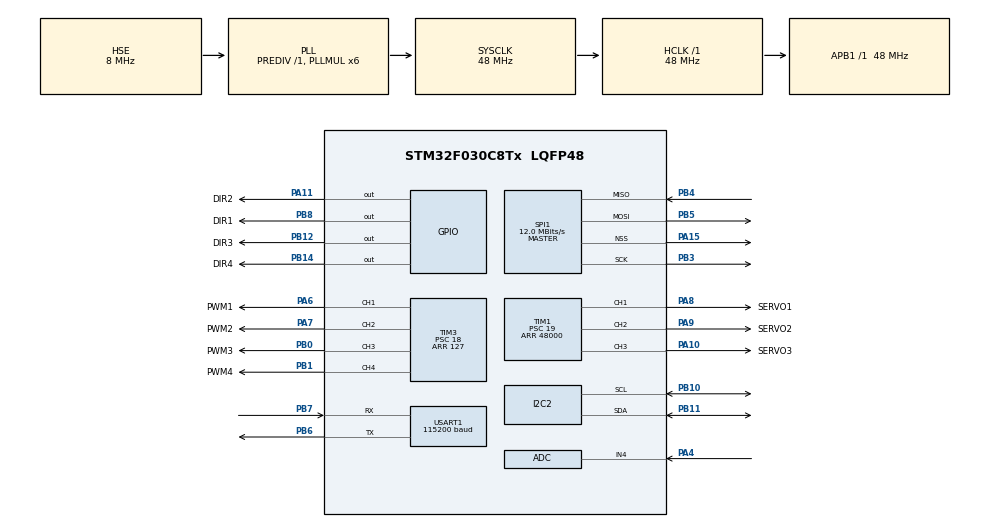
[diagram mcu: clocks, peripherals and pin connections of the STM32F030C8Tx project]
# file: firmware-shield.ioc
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ADC.EnableAnalogWatchDog=false
ADC.SamplingTime=ADC_SAMPLETIME_239CYCLES_5
Dma.Request0=USART1_RX
Dma.Request1=USART1_TX
Dma.USART1_RX.0.Direction=DMA_PERIPH_TO_MEMORY
Dma.USART1_RX.0.Instance=DMA1_Channel3
Dma.USART1_RX.0.MemDataAlignment=DMA_MDATAALIGN_BYTE
Dma.USART1_RX.0.MemInc=DMA_MINC_ENABLE
Dma.USART1_RX.0.Mode=DMA_NORMAL
Dma.USART1_RX.0.PeriphDataAlignment=DMA_PDATAALIGN_BYTE
Dma.USART1_RX.0.PeriphInc=DMA_PINC_DISABLE
Dma.USART1_RX.0.Priority=DMA_PRIORITY_LOW
Dma.USART1_TX.1.Direction=DMA_MEMORY_TO_PERIPH
Dma.USART1_TX.1.Instance=DMA1_Channel2
Dma.USART1_TX.1.MemDataAlignment=DMA_MDATAALIGN_BYTE
Dma.USART1_TX.1.MemInc=DMA_MINC_ENABLE
Dma.USART1_TX.1.Mode=DMA_NORMAL
Dma.USART1_TX.1.PeriphDataAlignment=DMA_PDATAALIGN_BYTE
Dma.USART1_TX.1.PeriphInc=DMA_PINC_DISABLE
Dma.USART1_TX.1.Priority=DMA_PRIORITY_LOW
I2C2.Timing=0x20303E5D
Mcu.Family=STM32F0
Mcu.Name=STM32F030C8Tx
Mcu.Package=LQFP48
NVIC.ADC1_IRQn=true\:0\:0\:false\:false\:true\:true
NVIC.DMA1_Channel2_3_IRQn=true\:0\:0\:false\:false\:true\:false
NVIC.I2C2_IRQn=true\:0\:0\:false\:false\:true\:true
NVIC.SPI1_IRQn=true\:0\:0\:false\:false\:true\:true
NVIC.TIM1_BRK_UP_TRG_COM_IRQn=true\:0\:0\:false\:false\:true\:true
NVIC.TIM1_CC_IRQn=true\:0\:0\:false\:false\:true\:true
NVIC.TIM3_IRQn=true\:0\:0\:false\:false\:true\:true
NVIC.USART1_IRQn=true\:0\:0\:false\:false\:true\:true
PA10.GPIO_Label=SERVO3
PA10.Signal=S_TIM1_CH3
PA11.GPIO_Label=DIR2
PA11.Signal=GPIO_Output
PA13.Mode=Serial_Wire
PA13.Signal=SYS_SWDIO
PA14.Mode=Serial_Wire
PA14.Signal=SYS_SWCLK
PA15.Mode=NSS_Signal_Hard_Output
PA15.Signal=SPI1_NSS
PA4.Mode=IN4
PA4.Signal=ADC_IN4
PA6.GPIO_Label=PWM1
PA6.Signal=S_TIM3_CH1
PA7.GPIO_Label=PWM2
PA7.Signal=S_TIM3_CH2
PA8.GPIO_Label=SERVO1
PA8.Signal=S_TIM1_CH1
PA9.GPIO_Label=SERVO2
PA9.Signal=S_TIM1_CH2
PB0.GPIO_Label=PWM3
PB0.Signal=S_TIM3_CH3
PB1.GPIO_Label=PWM4
PB1.Signal=S_TIM3_CH4
PB10.Mode=I2C
PB10.Signal=I2C2_SCL
PB11.Mode=I2C
PB11.Signal=I2C2_SDA
PB12.GPIO_Label=DIR3
PB12.Signal=GPIO_Output
PB14.GPIO_Label=DIR4
PB14.Signal=GPIO_Output
PB3.Mode=Full_Duplex_Master
PB3.Signal=SPI1_SCK
PB4.Mode=Full_Duplex_Master
PB4.Signal=SPI1_MISO
PB5.Mode=Full_Duplex_Master
PB5.Signal=SPI1_MOSI
PB6.Mode=Asynchronous
PB6.Signal=USART1_TX
PB7.Mode=Asynchronous
PB7.Signal=USART1_RX
PB8.GPIO_Label=DIR1
PB8.Signal=GPIO_Output
PF0-OSC_IN.Mode=HSE-External-Oscillator
PF0-OSC_IN.Signal=RCC_OSC_IN
PF1-OSC_OUT.Mode=HSE-External-Oscillator
PF1-OSC_OUT.Signal=RCC_OSC_OUT
ProjectManager.HeapSize=0x200
ProjectManager.StackSize=0x400
ProjectManager.TargetToolchain=SW4STM32
RCC.AHBFreq_Value=48000000
RCC.APB1Freq_Value=48000000
RCC.APB1TimFreq_Value=48000000
RCC.HCLKFreq_Value=48000000
RCC.PLLMUL=RCC_PLL_MUL6
RCC.PLLSourceVirtual=RCC_PLLSOURCE_HSE
RCC.SYSCLKFreq_VALUE=48000000
RCC.SYSCLKSource=RCC_SYSCLKSOURCE_PLLCLK
SH.S_TIM1_CH1.0=TIM1_CH1,PWM Generation1 CH1
SH.S_TIM1_CH2.0=TIM1_CH2,PWM Generation2 CH2
SH.S_TIM1_CH3.0=TIM1_CH3,PWM Generation3 CH3
SH.S_TIM3_CH1.0=TIM3_CH1,PWM Generation1 CH1
SH.S_TIM3_CH2.0=TIM3_CH2,PWM Generation2 CH2
SH.S_TIM3_CH3.0=TIM3_CH3,PWM Generation3 CH3
SH.S_TIM3_CH4.0=TIM3_CH4,PWM Generation4 CH4
SPI1.BaudRatePrescaler=SPI_BAUDRATEPRESCALER_4
SPI1.CalculateBaudRate=12.0 MBits/s
SPI1.Direction=SPI_DIRECTION_2LINES
SPI1.Mode=SPI_MODE_MASTER
SPI1.VirtualNSS=VM_NSSHARD
SPI1.VirtualType=VM_MASTER
TIM1.AutoReloadPreload=TIM_AUTORELOAD_PRELOAD_ENABLE
TIM1.Channel-PWM\ Generation1\ CH1=TIM_CHANNEL_1
TIM1.Channel-PWM\ Generation2\ CH2=TIM_CHANNEL_2
TIM1.Channel-PWM\ Generation3\ CH3=TIM_CHANNEL_3
TIM1.Period=48000
TIM1.Prescaler=19
TIM3.AutoReloadPreload=TIM_AUTORELOAD_PRELOAD_ENABLE
TIM3.Channel-PWM\ Generation1\ CH1=TIM_CHANNEL_1
TIM3.Channel-PWM\ Generation2\ CH2=TIM_CHANNEL_2
TIM3.Channel-PWM\ Generation3\ CH3=TIM_CHANNEL_3
TIM3.Channel-PWM\ Generation4\ CH4=TIM_CHANNEL_4
TIM3.Period=127
TIM3.Prescaler=18
USART1.BaudRate=115200
USART1.VirtualMode-Asynchronous=VM_ASYNC
VP_TIM1_VS_ClockSourceINT.Mode=Internal
VP_TIM3_VS_ClockSourceINT.Mode=Internal
board=custom

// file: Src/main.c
/**
  ******************************************************************************
  * @file           : main.c
  * @brief          : Main program body
  ******************************************************************************
  ** This notice applies to any and all portions of this file
  * that are not between comment pairs USER CODE BEGIN and
  * USER CODE END. Other portions of this file, whether
  * inserted by the user or by software development tools
  * are owned by their respective copyright owners.
  *
  * COPYRIGHT(c) 2019 STMicroelectronics
  *
  * Redistribution and use in source and binary forms, with or without modification,
  * are permitted provided that the following conditions are met:
  *   1. Redistributions of source code must retain the above copyright notice,
  *      this list of conditions and the following disclaimer.
  *   2. Redistributions in binary form must reproduce the above copyright notice,
  *      this list of conditions and the following disclaimer in the documentation
  *      and/or other materials provided with the distribution.
  *   3. Neither the name of STMicroelectronics nor the names of its contributors
  *      may be used to endorse or promote products derived from this software
  *      without specific prior written permission.
  *
  * THIS SOFTWARE IS PROVIDED BY THE COPYRIGHT HOLDERS AND CONTRIBUTORS "AS IS"
  * AND ANY EXPRESS OR IMPLIED WARRANTIES, INCLUDING, BUT NOT LIMITED TO, THE
  * IMPLIED WARRANTIES OF MERCHANTABILITY AND FITNESS FOR A PARTICULAR PURPOSE ARE
  * DISCLAIMED. IN NO EVENT SHALL THE COPYRIGHT HOLDER OR CONTRIBUTORS BE LIABLE
  * FOR ANY DIRECT, INDIRECT, INCIDENTAL, SPECIAL, EXEMPLARY, OR CONSEQUENTIAL
  * DAMAGES (INCLUDING, BUT NOT LIMITED TO, PROCUREMENT OF SUBSTITUTE GOODS OR
  * SERVICES; LOSS OF USE, DATA, OR PROFITS; OR BUSINESS INTERRUPTION) HOWEVER
  * CAUSED AND ON ANY THEORY OF LIABILITY, WHETHER IN CONTRACT, STRICT LIABILITY,
  * OR TORT (INCLUDING NEGLIGENCE OR OTHERWISE) ARISING IN ANY WAY OUT OF THE USE
  * OF THIS SOFTWARE, EVEN IF ADVISED OF THE POSSIBILITY OF SUCH DAMAGE.
  *
  ******************************************************************************
  */
#include "main.h"
#include "stm32f0xx_hal.h"
#include "adc.h"
#include "dma.h"
#include "i2c.h"
#include "spi.h"
#include "tim.h"
#include "usart.h"
#include "gpio.h"

/* USER CODE BEGIN PV */
/* Private variables ---------------------------------------------------------*/
volatile uint16_t Battery_level;

volatile uint16_t emergencyStop;
/* USER CODE END PV */

void SystemClock_Config(void);

/* USER CODE BEGIN PFP */
/* Private function prototypes -----------------------------------------------*/

/* USER CODE END PFP */

int main(void)
{
  /* USER CODE BEGIN 1 */
	watchdogFlag = 0x01;
  /* USER CODE END 1 */

  /* MCU Configuration----------------------------------------------------------*/

  /* Reset of all peripherals, Initializes the Flash interface and the Systick. */
  HAL_Init();

  /* Configure the system clock */
  SystemClock_Config();

  /* Initialize all configured peripherals */
  MX_GPIO_Init();
  MX_DMA_Init();
  MX_ADC_Init();
  MX_I2C2_Init();
  MX_SPI1_Init();
  MX_TIM1_Init();
  MX_TIM3_Init();
  MX_USART1_UART_Init();
  /* USER CODE BEGIN 2 */

	TIM1->CCR3 = 3300; /*	axis 1		*/
	TIM1->CCR2 = 3300; /*	axis 2		*/
	TIM1->CCR1 = 3300; /*	gripper		*/

	__enable_irq();
	HAL_ADC_Start(&hadc);
	HAL_UART_Receive_IT(&huart1, rxBuffer, 7);
	HAL_TIM_PWM_Start(&htim3, TIM_CHANNEL_1);
	HAL_TIM_PWM_Start(&htim3, TIM_CHANNEL_2);
	HAL_TIM_PWM_Start(&htim3, TIM_CHANNEL_3);
	HAL_TIM_PWM_Start(&htim3, TIM_CHANNEL_4);
	HAL_TIM_PWM_Start(&htim1, TIM_CHANNEL_1);
	HAL_TIM_PWM_Start(&htim1, TIM_CHANNEL_2);
	HAL_TIM_PWM_Start(&htim1, TIM_CHANNEL_3);
  /* USER CODE END 2 */

  /* Infinite loop */
	while (1) {

	}

}

void SystemClock_Config(void)
{

  RCC_OscInitTypeDef RCC_OscInitStruct;
  RCC_ClkInitTypeDef RCC_ClkInitStruct;
  RCC_PeriphCLKInitTypeDef PeriphClkInit;

    /**Initializes the CPU, AHB and APB busses clocks
    */
  RCC_OscInitStruct.OscillatorType = RCC_OSCILLATORTYPE_HSI14|RCC_OSCILLATORTYPE_HSE;
  RCC_OscInitStruct.HSEState = RCC_HSE_ON;
  RCC_OscInitStruct.HSI14State = RCC_HSI14_ON;
  RCC_OscInitStruct.HSI14CalibrationValue = 16;
  RCC_OscInitStruct.PLL.PLLState = RCC_PLL_ON;
  RCC_OscInitStruct.PLL.PLLSource = RCC_PLLSOURCE_HSE;
  RCC_OscInitStruct.PLL.PLLMUL = RCC_PLL_MUL6;
  RCC_OscInitStruct.PLL.PREDIV = RCC_PREDIV_DIV1;
  if (HAL_RCC_OscConfig(&RCC_OscInitStruct) != HAL_OK)
  {
    _Error_Handler(__FILE__, __LINE__);
  }

    /**Initializes the CPU, AHB and APB busses clocks
    */
  RCC_ClkInitStruct.ClockType = RCC_CLOCKTYPE_HCLK|RCC_CLOCKTYPE_SYSCLK
                              |RCC_CLOCKTYPE_PCLK1;
  RCC_ClkInitStruct.SYSCLKSource = RCC_SYSCLKSOURCE_PLLCLK;
  RCC_ClkInitStruct.AHBCLKDivider = RCC_SYSCLK_DIV1;
  RCC_ClkInitStruct.APB1CLKDivider = RCC_HCLK_DIV1;

  if (HAL_RCC_ClockConfig(&RCC_ClkInitStruct, FLASH_LATENCY_1) != HAL_OK)
  {
    _Error_Handler(__FILE__, __LINE__);
  }

  PeriphClkInit.PeriphClockSelection = RCC_PERIPHCLK_USART1;
  PeriphClkInit.Usart1ClockSelection = RCC_USART1CLKSOURCE_PCLK1;
  if (HAL_RCCEx_PeriphCLKConfig(&PeriphClkInit) != HAL_OK)
  {
    _Error_Handler(__FILE__, __LINE__);
  }

    /**Configure the Systick interrupt time
    */
  HAL_SYSTICK_Config(HAL_RCC_GetHCLKFreq()/1000);

    /**Configure the Systick
    */
  HAL_SYSTICK_CLKSourceConfig(SYSTICK_CLKSOURCE_HCLK);

  /* SysTick_IRQn interrupt configuration */
  HAL_NVIC_SetPriority(SysTick_IRQn, 0, 0);
}

void _Error_Handler(char *file, int line)
{
	while (1) {
	}
}

/************************ (C) COPYRIGHT STMicroelectronics *****END OF FILE****/
